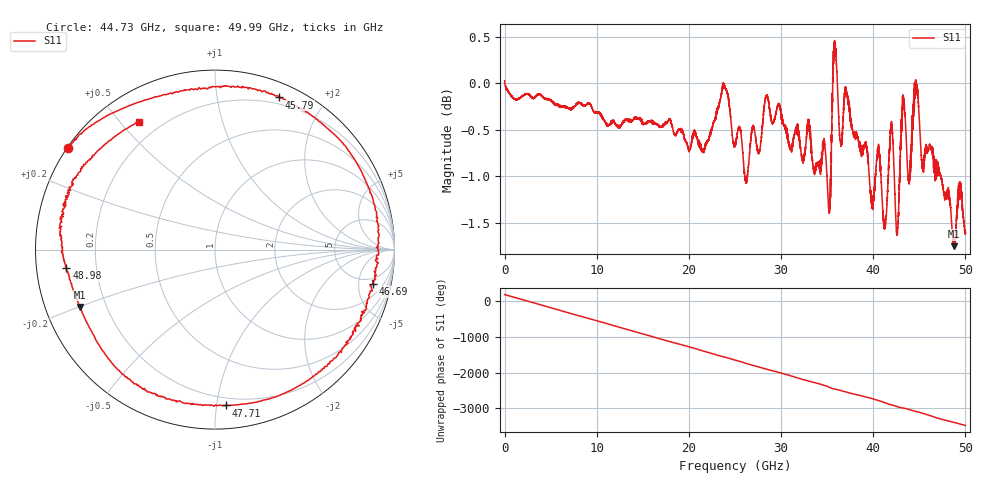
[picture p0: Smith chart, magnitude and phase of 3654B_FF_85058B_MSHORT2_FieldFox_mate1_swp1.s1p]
!Created with skrf (http://scikit-rf.org).
# Hz S RI R 50.0
!freq ReS11 ImS11
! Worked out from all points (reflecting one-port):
!   10000 points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, 5.3 MHz to 50 GHz, reference 50 ohm
!   lowest |S11| = -1.8 dB at 48.76 GHz (marker M1), VSWR 9.94, Z = 5.24 - j10.1 ohm
!   phase of S11 starts at 180 deg and turns -3660 deg over the sweep
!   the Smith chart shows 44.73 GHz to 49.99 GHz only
!   S11 on the Smith chart (normalised r, x): 44.73 GHz: 0.00, +0.31; 45.79 GHz: 0.14, +1.50; 46.69 GHz: 3.74, -7.42; 47.71 GHz: 0.15, -1.06; 48.98 GHz: 0.09, -0.06; 49.99 GHz: 0.12, +0.56
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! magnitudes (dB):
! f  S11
! 5.3 MHz  0.0
! 6.255 GHz  -0.2
! 12.51 GHz  -0.5
! 18.76 GHz  -0.5
! 23.85 GHz  0.0
! 25.01 GHz  -0.6
! 26.24 GHz  -1.1
! 28.46 GHz  -0.1
! 31.26 GHz  -0.7
! 35.18 GHz  -1.4
! 35.85 GHz  0.4
! 36.45 GHz  -0.6
! 37.51 GHz  -0.3
! 39.86 GHz  -1.2
! 40.59 GHz  -0.7
! 41.23 GHz  -1.6
! 41.94 GHz  -0.5
! 42.56 GHz  -1.6
! 43.24 GHz  -0.2
! 43.76 GHz  -1.0
! 44.73 GHz  0.0
! 45.79 GHz  -0.7
! 46.69 GHz  -0.9
! 47.71 GHz  -1.2
! 48.76 GHz  -1.8
! 48.98 GHz  -1.6
! 49.99 GHz  -1.6
! 50 GHz  -1.6
